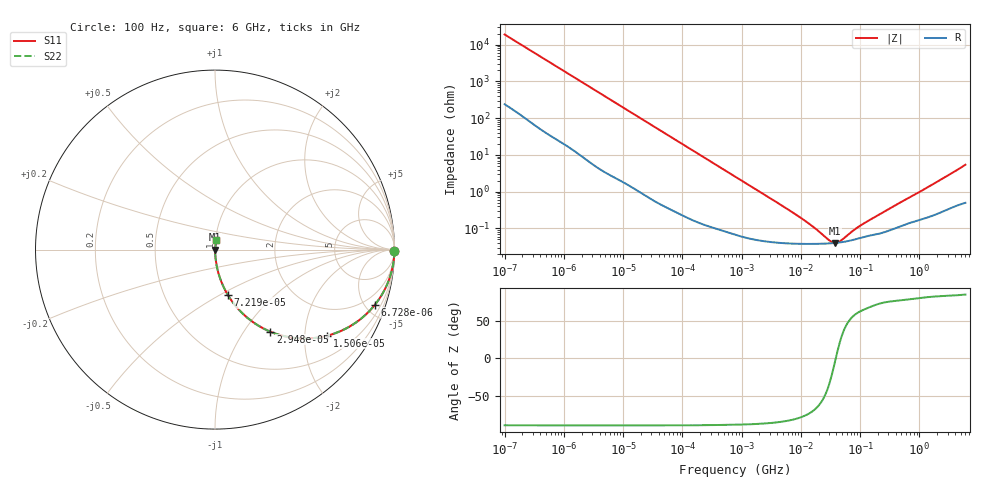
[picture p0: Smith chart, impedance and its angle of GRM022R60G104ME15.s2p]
!Murata Part Number: GRM022R60G104ME15
!These Parameters are Measured in Series Mode Connection
!Data Generated on Mar 30, 2021
!  o--ll--o
!Port1  Port2
!  o------o
!Operation Temp=25[degC], DC Bias Voltage=0[V]
!Freq. Start=100[Hz] Stop=6[GHz] 401[Steps]
# Hz S RI R 50
!Freq.(Hz) S11(Real) S11(Imag) S21(Real) S21(Imag) S12(Real) S12(Imag) S22(Real) S22(Imag)
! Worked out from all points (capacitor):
!   401 points, 100 Hz to 6 GHz, reference 50 ohm
!   read as one part in series: C = 83.7 nF near 109 Hz
!   lowest |Z| = 40.3 mohm at 38.09 MHz (marker M1)
!   series resonance near 38.97 MHz, so ESL is about 200 pH
!   S11 on the Smith chart (normalised r, x): 100 Hz: open; 6.728 kHz: 1.05, -5.79; 15.06 kHz: 1.02, -2.60; 29.48 kHz: 1.01, -1.33; 72.19 kHz: 1.01, -0.55; 6 GHz: 1.01, +0.11
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100  0.9999 -0.00528  9.44e-05 0.00528  9.44e-05 0.00528  0.9999 -0.00528
627  0.9986 -0.0326  0.0014 0.0326  0.0014 0.0326  0.9986 -0.0326
2008  0.9884 -0.1024  0.0116 0.1024  0.0116 0.1024  0.9884 -0.1024
4111  0.9556 -0.2019  0.0444 0.2019  0.0444 0.2019  0.9556 -0.2019
6728  0.8912 -0.307  0.1088 0.307  0.1088 0.307  0.8912 -0.307
10066  0.7876 -0.4044  0.2124 0.4044  0.2124 0.4044  0.7876 -0.4044
15062  0.6267 -0.479  0.3733 0.479  0.3733 0.479  0.6267 -0.479
20606  0.4753 -0.4947  0.5247 0.4947  0.5247 0.4947  0.4753 -0.4947
29482  0.309 -0.4574  0.691 0.4574  0.691 0.4574  0.309 -0.4574
40335  0.1945 -0.391  0.8055 0.391  0.8055 0.391  0.1945 -0.391
72189  0.0719 -0.253  0.9281 0.253  0.9281 0.253  0.0719 -0.253
118133  0.0291 -0.1623  0.9709 0.1623  0.9709 0.1623  0.0291 -0.1623
202169  0.0109 -0.097  0.9891 0.097  0.9891 0.097  0.0109 -0.097
774597  0.00135 -0.0258  0.9987 0.0258  0.9987 0.0258  0.00135 -0.0258
6075234  0.000401 -0.00326  0.9996 0.00326  0.9996 0.00326  0.000401 -0.00326
1.555665e7  0.00038 -0.0011  0.9996 0.0011  0.9996 0.0011  0.00038 -0.0011
3.045065e7  0.000391 -0.000258  0.9996 0.000258  0.9996 0.000258  0.000391 -0.000258
3.80911e7  0.000402 -2.34e-05  0.9996 2.34e-05  0.9996 2.34e-05  0.000402 -2.34e-05
4.556224e7  0.000415 0.000161  0.9996 -0.000161  0.9996 -0.000161  0.000415 0.000161
9.753859e7  0.000545 0.00101  0.9995 -0.00101  0.9995 -0.00101  0.000545 0.00101
3.124326e8  0.000889 0.00335  0.9991 -0.00335  0.9991 -0.00335  0.000889 0.00335
6e9  0.00781 0.0533  0.9922 -0.0533  0.9922 -0.0533  0.00781 0.0533
